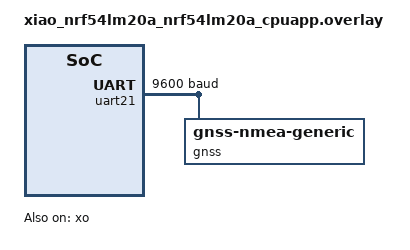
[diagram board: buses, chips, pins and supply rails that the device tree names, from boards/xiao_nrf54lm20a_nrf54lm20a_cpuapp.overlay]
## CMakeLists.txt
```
cmake_minimum_required(VERSION 3.20.0)

find_package(Zephyr REQUIRED HINTS $ENV{ZEPHYR_BASE})
project(006_rid_broadcast)

zephyr_include_directories(external/librid/include)

zephyr_library_sources(
    src/main.c
    external/librid/src/auth.c
    external/librid/src/auth_page.c
    external/librid/src/basic_id.c
    external/librid/src/json.c
    external/librid/src/location.c
    external/librid/src/message.c
    external/librid/src/message_pack.c
    external/librid/src/operator_id.c
    external/librid/src/self_id.c
    external/librid/src/system.c
)
```

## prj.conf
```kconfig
CONFIG_LOG=y
CONFIG_LOG_BUFFER_SIZE=4096
CONFIG_UART_ASYNC_API=y

CONFIG_GNSS=y
CONFIG_GNSS_SATELLITES=y # Parse $xxGSV messages
CONFIG_GNSS_DUMP_TO_LOG=y

# For librid json output
CONFIG_REQUIRES_FLOAT_PRINTF=y

CONFIG_BT=y
CONFIG_BT_BROADCASTER=y
CONFIG_BT_EXT_ADV=y
CONFIG_BT_CTLR_PHY_CODED=y
CONFIG_BT_CTLR_ADV_DATA_LEN_MAX=255
```

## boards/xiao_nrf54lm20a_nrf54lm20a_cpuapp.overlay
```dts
/* Use the SoftDevice Controller instead of the Zephyr link layer. */
/ {
    chosen {
        zephyr,bt-hci = &bt_hci_sdc;
    };
};

/* Turn the Zephyr link layer off. */
&bt_hci_controller {
    status = "disabled";
};

/* Use the onboard crystal for the 32 kHz clock source. */
&lfclk {
    status = "okay";
    k32src = "xtal";
    k32src-accuracy-ppm = <50>;
};

/* Enable the 32 MHz high-frequency oscillator. */
&xo {
    status = "okay";
};

&uart21 {
    current-speed = <9600>;

    gnss: gnss {
        compatible = "gnss-nmea-generic";
    };
};
```

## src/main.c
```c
#include <string.h>

#include <zephyr/bluetooth/bluetooth.h>
#include <zephyr/device.h>
#include <zephyr/drivers/gnss.h>
#include <zephyr/kernel.h>
#include <zephyr/logging/log.h>

#include <rid/basic_id.h>
#include <rid/location.h>
#include <rid/message_pack.h>
#include <rid/operator_id.h>
#include <rid/transport.h>

LOG_MODULE_REGISTER(main, LOG_LEVEL_DBG);

#define GNSS_DEV DEVICE_DT_GET(DT_NODELABEL(gnss))

static rid_message_pack_t message_pack;

/* Everything before message is the header. */
#define SVC_DATA_HEADER_SIZE RID_TRANSPORT_BT_MESSAGE_OFFSET

/* Reserve space for the header and max size message pack. */
static uint8_t svc_data[SVC_DATA_HEADER_SIZE + RID_MESSAGE_PACK_MAX_SIZE] = {
    RID_TRANSPORT_BT_SERVICE_UUID_LO,
    RID_TRANSPORT_BT_SERVICE_UUID_HI,
    RID_TRANSPORT_BT_APP_CODE,
    0x00,
};

/* Put header only svc data to the ad array. */
static struct bt_data ad[] = {
    BT_DATA(BT_DATA_SVC_DATA16, svc_data, SVC_DATA_HEADER_SIZE),
};

static struct bt_le_ext_adv *adv;

static int update_location(const struct gnss_data *data) {
    int rc;
    uint8_t index;
    rid_location_t location;

    /* Find the index of the location message. We assume it exists. */
    rc = rid_message_pack_find_message_index_by_type(
        &message_pack, RID_MESSAGE_TYPE_LOCATION, 0, &index
    );
    if (rc < 0) {
        return rc;
    }

    /* Make a copy we can work on. */
    rc = rid_message_pack_copy_message_at(&message_pack, index, &location);
    if (rc < 0) {
        return rc;
    }

    /* If we have no fix set location invalid. */
    if (data->info.fix_status == GNSS_FIX_STATUS_NO_FIX) {
        rc = rid_location_set_coordinates(
            &location, RID_LATITUDE_INVALID, RID_LONGITUDE_INVALID
        );
        if (rc < 0) {
            return rc;
        }

        /* Replace the location message in the pack. */
        return rid_message_pack_set_message_at(&message_pack, index, &location);
    }

    rc = rid_location_set_coordinates(
        &location,
        (double)data->nav_data.latitude / 1000000000.0,
        (double)data->nav_data.longitude / 1000000000.0
    );
    if (rc < 0) {
        return rc;
    }

    rc = rid_location_set_geodetic_altitude(
        &location,
        (float)(data->nav_data.altitude + data->info.geoid_separation) / 1000.0f
    );
    if (rc < 0) {
        return rc;
    }

    rc = rid_location_set_speed(&location, (float)data->nav_data.speed / 1000.0f);
    if (rc < 0) {
        return rc;
    }

    if (data->nav_data.speed == 0) {
        rc = rid_location_set_track_direction(&location, RID_TRACK_DIRECTION_UNKNOWN);
    } else {
        uint16_t degrees;

        degrees = (uint16_t)((data->nav_data.bearing / 1000U) % 360U);
        rc = rid_location_set_track_direction(&location, degrees);
    }
    if (rc < 0) {
        return rc;
    }

    /* If we have GNSS date. */
    if (data->utc.month_day != 0) {
        uint32_t deciseconds;

        deciseconds = (uint32_t)data->utc.minute * 600U;
        deciseconds += (uint32_t)data->utc.millisecond / 100U;
        if (deciseconds <= RID_TIMESTAMP_MAX) {
            rc = rid_location_set_timestamp(&location, (uint16_t)deciseconds);
            if (rc < 0) {
                return rc;
            }
        }
    }

    /* Replace the location message in the pack. */
    return rid_message_pack_set_message_at(&message_pack, index, &location);
}

static int update_advertising(void) {
    int rc;
    size_t pack_size;

    if (adv == NULL) {
        return 0;
    }

    /* Copy message pack data into service data. */
    pack_size = rid_message_pack_size(&message_pack);
    memcpy(&svc_data[RID_TRANSPORT_BT_MESSAGE_OFFSET], &message_pack, pack_size);
    ad[0].data_len = SVC_DATA_HEADER_SIZE + pack_size;
    svc_data[RID_TRANSPORT_BT_COUNTER_OFFSET]++;

    /* Tell bluetooth to start using the new data. */
    rc = bt_le_ext_adv_set_data(adv, ad, ARRAY_SIZE(ad), NULL, 0);
    if (rc < 0) {
        LOG_ERR("bt_le_ext_adv_set_data() failed: %d", rc);
        return rc;
    }

    return 0;
}

static void gnss_data_cb(const struct device *dev, const struct gnss_data *data) {
    int rc;
    static char json[1024];

    ARG_UNUSED(dev);

    /* Update the location message in the message pack. */
    rc = update_location(data);
    if (rc < 0) {
        LOG_ERR("Location update failed: %s", rid_error_to_string(rc));
        return;
    }

    /* Tell bluetooth to use the updated message pack. */
    rc = update_advertising();
    if (rc < 0) {
        return;
    }

    LOG_HEXDUMP_DBG(&message_pack, rid_message_pack_size(&message_pack), "message_pack");

    rid_message_pack_to_json(&message_pack, json, sizeof(json), NULL);
    LOG_INF("%s", json);
}

GNSS_DATA_CALLBACK_DEFINE(GNSS_DEV, gnss_data_cb);

static int start_advertising(void) {
    int rc;
    const struct bt_le_adv_param *param = BT_LE_ADV_PARAM(
        BT_LE_ADV_OPT_EXT_ADV | BT_LE_ADV_OPT_CODED,
        BT_GAP_ADV_SLOW_INT_MIN,
        BT_GAP_ADV_SLOW_INT_MAX,
        NULL
    );

    rc = bt_le_ext_adv_create(param, NULL, &adv);
    if (rc < 0) {
        LOG_ERR("bt_le_ext_adv_create() failed: %d", rc);
        return rc;
    }

    rc = update_advertising();
    if (rc < 0) {
        return rc;
    }

    rc = bt_le_ext_adv_start(adv, BT_LE_EXT_ADV_START_DEFAULT);
    if (rc < 0) {
        LOG_ERR("bt_le_ext_adv_start(): %d", rc);
        return rc;
    }

    return 0;
}

int main(void) {
    int rc;
    rid_basic_id_t basic_id;
    rid_operator_id_t operator_id;
    rid_location_t location;

    rid_message_pack_init(&message_pack);

    rid_basic_id_init(&basic_id);
    rid_basic_id_set_type(&basic_id, RID_ID_TYPE_SERIAL_NUMBER);
    rid_basic_id_set_ua_type(&basic_id, RID_UA_TYPE_HELICOPTER_OR_MULTIROTOR);
    rid_basic_id_set_uas_id(&basic_id, "DEADBEEFDEADBEEF", strlen("DEADBEEFDEADBEEF"));
    rid_message_pack_add_message(&message_pack, &basic_id);

    rid_location_init(&location);
    rid_message_pack_add_message(&message_pack, &location);

    rid_operator_id_init(&operator_id);
    rid_operator_id_set_type(&operator_id, RID_OPERATOR_ID_TYPE_DEFAULT);
    rid_operator_id_set(&operator_id, "FIN87astrdge12k8");
    rid_message_pack_add_message(&message_pack, &operator_id);

    if (!device_is_ready(GNSS_DEV)) {
        LOG_ERR("%s not ready", GNSS_DEV->name);
        return -ENODEV;
    }
    LOG_INF("GNSS ready");

    rc = bt_enable(NULL);
    if (rc < 0) {
        LOG_ERR("bt_enable() failed: %d", rc);
        return rc;
    }
    LOG_INF("Bluetooth initialized.");

    rc = start_advertising();
    if (rc < 0) {
        return rc;
    }
    LOG_INF("Extended advertising started");

    return 0;
}
```
